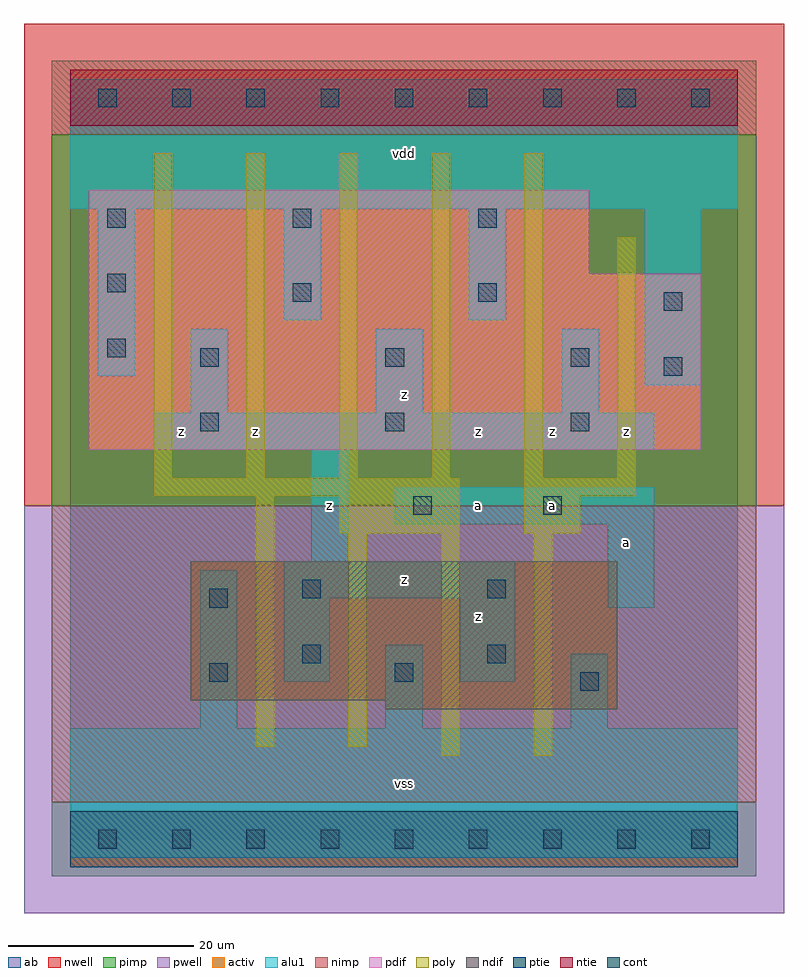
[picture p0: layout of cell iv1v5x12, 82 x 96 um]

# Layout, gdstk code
import gdstk
lib = gdstk.Library(unit=1e-6, precision=1e-09)
def R(c, l, rs):  # rectangles x0, y0, x1, y1
    for r in rs: c.add(gdstk.rectangle(r[:2], r[2:], *l))
def A(c, l, x, y, w, h, nx, ny, dx, dy):  # array of equal rectangles
    R(c, l, [(x+i*dx, y+j*dy, x+i*dx+w, y+j*dy+h) for i in range(nx) for j in range(ny)])
ndif = (3, 0)
pdif = (4, 0)
ntie = (5, 0)
ptie = (6, 0)
cont = (25, 0)
pwell = (41, 0)
nwell = (42, 0)
activ = (43, 0)
pimp = (44, 0)
nimp = (45, 0)
poly = (46, 0)
alu1 = (49, 0)
ab = (63, 0)

iv1v5x12 = lib.new_cell('iv1v5x12')
R(iv1v5x12, ndif, [(34,14,59,15), (13,15,59,30)])
R(iv1v5x12, pdif, [(2,42,68,61), (2,61,56,70)])
R(iv1v5x12, ntie, [(0,77,72,83)])
R(iv1v5x12, ptie, [(0,-3,72,3)])
A(iv1v5x12, cont, 3, -1, 2, 2, 9, 2, 8, 80)
A(iv1v5x12, cont, 14, 44, 2, 2, 3, 2, 20, 7)
A(iv1v5x12, cont, 4, 66, 2, 2, 3, 1, 20, 0)
R(iv1v5x12, cont, [(55,16,57,18), (15,17,17,19), (35,17,37,19), (25,19,27,21), (45,19,47,21), (15,25,17,27), (25,26,27,28), (45,26,47,28), (37,35,39,37), (51,35,53,37), (64,50,66,52), (4,52,6,54), (64,57,66,59), (24,58,26,60), (44,58,46,60), (4,59,6,61)])
R(iv1v5x12, pwell, [(-5,-8,77,36)])
R(iv1v5x12, nwell, [(-5,36,77,88)])
R(iv1v5x12, activ, [(0,-3,72,3), (34,14,59,15), (13,15,59,30), (2,42,68,61), (2,61,56,70), (0,77,72,83)])
R(iv1v5x12, pimp, [(-2,-4,74,4), (-2,36,74,76)])
R(iv1v5x12, nimp, [(-2,4,74,36), (-2,76,74,84)])
A(iv1v5x12, poly, 9, 39, 2, 35, 5, 1, 10, 0)
R(iv1v5x12, poly, [(40,9,42,33), (50,9,52,33), (20,10,22,37), (30,10,32,33), (29,33,42,37), (49,33,55,37), (9,37,42,39), (49,37,61,39), (59,39,61,65)])
R(iv1v5x12, alu1, [(0,-2,72,12), (14,12,18,29), (34,12,38,21), (54,12,58,20), (23,17,28,26), (42,17,48,26), (58,25,63,34), (23,26,48,30), (26,30,30,42), (35,34,63,38), (9,42,63,46), (13,46,17,55), (33,46,38,55), (53,46,57,55), (62,49,68,68), (3,50,7,68), (23,56,27,68), (43,56,47,68), (0,68,72,82)])
R(iv1v5x12, ab, [(0,0,72,80)])
iv1v5x12.add(gdstk.Label('z', (12,44), layer=49, texttype=0))
iv1v5x12.add(gdstk.Label('z', (28,36), layer=49, texttype=0))
iv1v5x12.add(gdstk.Label('z', (20,44), layer=49, texttype=0))
iv1v5x12.add(gdstk.Label('vss', (36,6), layer=49, texttype=0))
iv1v5x12.add(gdstk.Label('z', (36,28), layer=49, texttype=0))
iv1v5x12.add(gdstk.Label('a', (44,36), layer=49, texttype=0))
iv1v5x12.add(gdstk.Label('a', (52,36), layer=49, texttype=0))
iv1v5x12.add(gdstk.Label('z', (44,24), layer=49, texttype=0))
iv1v5x12.add(gdstk.Label('z', (44,44), layer=49, texttype=0))
iv1v5x12.add(gdstk.Label('z', (52,44), layer=49, texttype=0))
iv1v5x12.add(gdstk.Label('z', (36,48), layer=49, texttype=0))
iv1v5x12.add(gdstk.Label('vdd', (36,74), layer=49, texttype=0))
iv1v5x12.add(gdstk.Label('a', (60,32), layer=49, texttype=0))
iv1v5x12.add(gdstk.Label('z', (60,44), layer=49, texttype=0))

lib.write_gds('iv1v5x12.gds')
